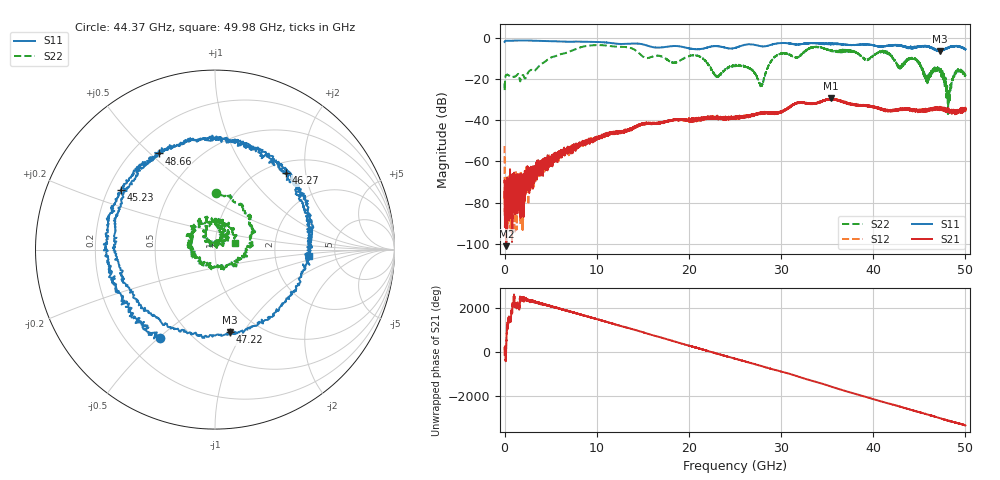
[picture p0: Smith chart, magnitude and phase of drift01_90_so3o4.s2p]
!Created with skrf (http://scikit-rf.org).
# Hz S RI R 50.0
!freq ReS11 ImS11 ReS21 ImS21 ReS12 ImS12 ReS22 ImS22
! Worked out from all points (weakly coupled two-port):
!   10001 points, 300 kHz to 50 GHz, reference 50 ohm
!   highest |S21| = -29.51 dB at 35.42 GHz (marker M1); lowest = -101.2 dB at 190.3 MHz (marker M2)
!   lowest |S11| = -6.6 dB at 47.22 GHz (marker M3), VSWR 2.75, Z = 37.1 - j43.5 ohm
!   |S11| at or under -10 dB: nowhere
!   |S22| runs from -37.8 to -3.6 dB; largest |S21 - S12| = 0.0042
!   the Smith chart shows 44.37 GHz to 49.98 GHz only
!   S11 on the Smith chart (normalised r, x): 44.37 GHz: 0.34, -0.51; 45.23 GHz: 0.25, +0.27; 46.27 GHz: 1.20, +1.57; 47.22 GHz: 0.74, -0.87; 48.66 GHz: 0.31, +0.53; 49.98 GHz: 3.17, -0.29
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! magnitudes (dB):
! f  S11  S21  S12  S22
! 300 kHz  -2.1  -70.3  -52.6  -21.9
! 190.3 MHz  -1.4  -101.2  -78.0  -18.0
! 1.945 GHz  -1.4  -79.9  -72.2  -18.2
! 8.335 GHz  -2.0  -51.6  -51.6  -4.5
! 16.67 GHz  -4.8  -41.3  -41.4  -8.7
! 20.97 GHz  -5.6  -39.3  -39.8  -8.8
! 23.09 GHz  -4.1  -39.0  -39.0  -18.6
! 25 GHz  -5.0  -38.3  -38.8  -13.7
! 27.84 GHz  -4.1  -36.8  -36.7  -23.0
! 29.48 GHz  -2.9  -36.2  -36.2  -8.7
! 33.34 GHz  -2.6  -32.1  -31.9  -4.8
! 35.42 GHz  -2.8  -29.5  -29.9  -6.2
! 41.67 GHz  -3.9  -35.6  -35.5  -7.8
! 42.84 GHz  -3.9  -34.7  -34.9  -14.1
! 44.37 GHz  -4.7  -35.2  -35.5  -10.0
! 45.23 GHz  -4.1  -35.4  -35.7  -14.3
! 46.27 GHz  -4.7  -35.1  -34.3  -16.7
! 47.22 GHz  -6.6  -34.7  -34.4  -16.8
! 48.14 GHz  -4.8  -34.7  -36.0  -30.6
! 48.66 GHz  -4.1  -36.6  -35.4  -20.4
! 49.98 GHz  -5.6  -35.1  -34.6  -18.4
! 50 GHz  -5.5  -34.3  -34.8  -18.3
